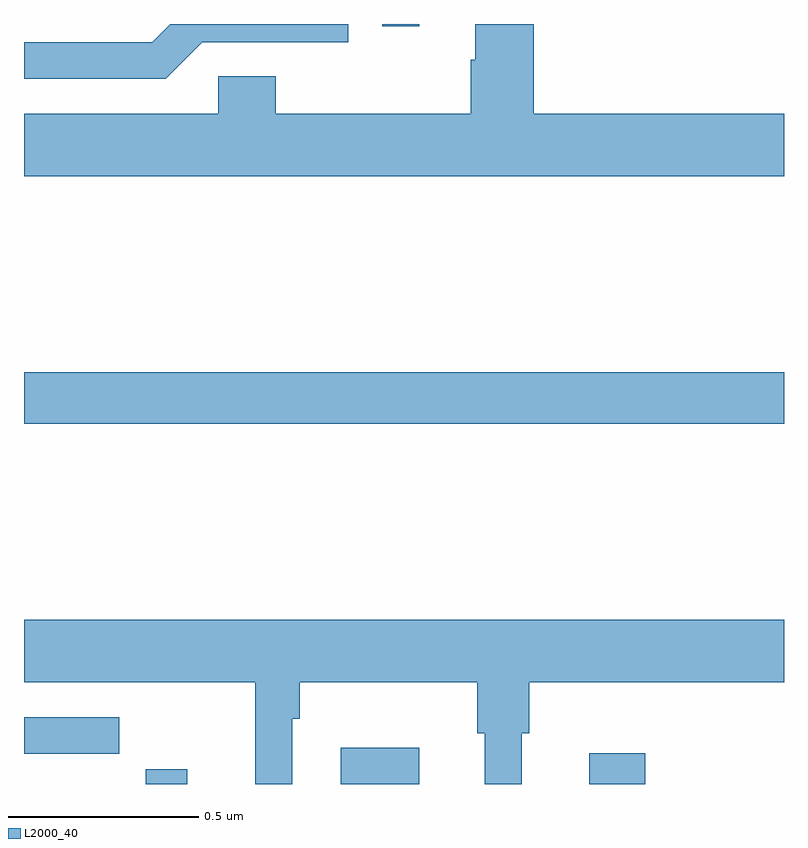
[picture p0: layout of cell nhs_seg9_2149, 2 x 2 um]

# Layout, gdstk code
import gdstk
lib = gdstk.Library(unit=1e-6, precision=1e-09)
def R(c, l, rs):  # rectangles x0, y0, x1, y1
    for r in rs: c.add(gdstk.rectangle(r[:2], r[2:], *l))
def P(c, l, *ps):  # polygons
    for p in ps: c.add(gdstk.Polygon(p, *l))
L2000_40 = (2000, 40)

nhs_seg9_2149 = lib.new_cell('nhs_seg9_2149')
R(nhs_seg9_2149, L2000_40, [(137.32,1181.5,137.429,1181.539), (137.834,1181.5,138.04,1181.596), (138.488,1181.5,138.635,1181.581), (137,1182.448,139,1182.584), (137.943,1183.494,138.04,1183.5)])
P(nhs_seg9_2149, L2000_40, [(139,1183.264),(138.341,1183.264),(138.341,1183.5),(138.188,1183.5),(138.188,1183.406),(138.176,1183.406),(138.176,1183.264),(137.663,1183.264),(137.663,1183.362),(137.511,1183.362),(137.511,1183.264),(137,1183.264),(137,1183.1),(139,1183.1)],
  [(137.469,1183.452),(137.853,1183.452),(137.853,1183.5),(137.385,1183.5),(137.337,1183.452),(137,1183.452),(137,1183.356),(137.373,1183.356)],
  [(137.706,1181.672),(137.726,1181.672),(137.726,1181.768),(138.193,1181.768),(138.193,1181.634),(138.212,1181.634),(138.212,1181.5),(138.31,1181.5),(138.31,1181.634),(138.329,1181.634),(138.329,1181.768),(139,1181.768),(139,1181.932),(137,1181.932),(137,1181.768),(137.609,1181.768),(137.609,1181.5),(137.706,1181.5)],
  [(137.138,1181.58),(137.251,1181.58),(137.251,1181.676),(137,1181.676),(137,1181.579),(137.138,1181.579)])

lib.write_gds('nhs_seg9_2149.gds')
